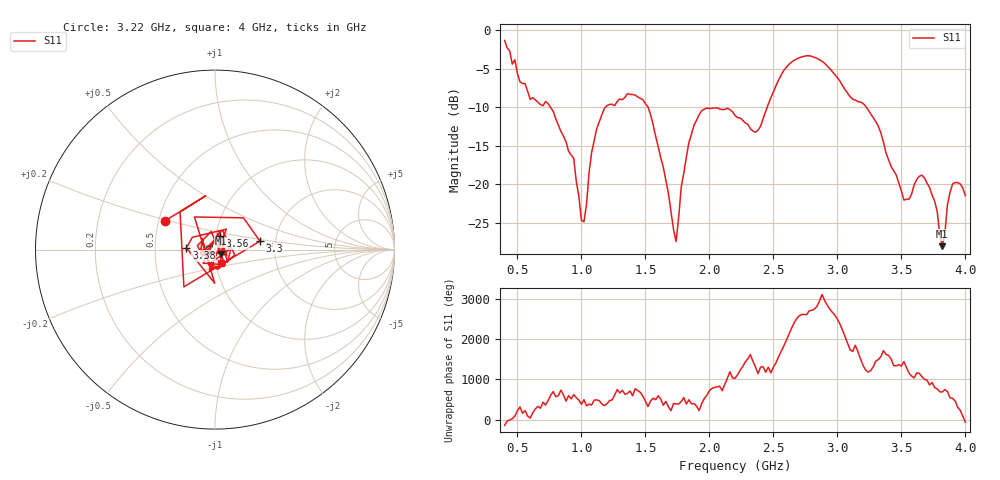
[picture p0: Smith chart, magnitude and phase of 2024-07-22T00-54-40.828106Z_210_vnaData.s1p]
!Created with skrf (http://scikit-rf.org).
# Hz S RI R 50.0
!freq ReS11 ImS11
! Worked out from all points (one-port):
!   181 points, 400 MHz to 4 GHz, reference 50 ohm
!   lowest |S11| = -28.1 dB at 3.82 GHz (marker M1), VSWR 1.08, Z = 53.3 - j2.45 ohm
!   |S11| at or under -10 dB: 757.6 MHz to 1.189 GHz (430.9 MHz wide, 44.3 % of centre); 1.521 GHz to 2.451 GHz (930.7 MHz wide, 46.9 % of centre); 3.226 GHz to end of sweep
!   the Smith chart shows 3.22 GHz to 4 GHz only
!   S11 on the Smith chart (normalised r, x): 3.22 GHz: 0.54, +0.19; 3.3 GHz: 1.66, +0.17; 3.38 GHz: 0.73, +0.01; 3.56 GHz: 1.04, +0.16; 4 GHz: 1.06, -0.16
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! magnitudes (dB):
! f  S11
! 400 MHz  -1.3
! 600 MHz  -9.0
! 740 MHz  -9.5
! 860 MHz  -13.8
! 940 MHz  -16.7
! 1 GHz  -24.7
! 1.02 GHz  -24.9
! 1.12 GHz  -12.8
! 1.3 GHz  -8.9
! 1.52 GHz  -10.0
! 1.74 GHz  -27.4
! 1.76 GHz  -24.3
! 1.84 GHz  -14.6
! 1.92 GHz  -11.0
! 2.2 GHz  -11.1
! 2.38 GHz  -13.0
! 2.66 GHz  -3.9
! 2.88 GHz  -4.0
! 3.1 GHz  -8.7
! 3.22 GHz  -9.9
! 3.3 GHz  -11.9
! 3.38 GHz  -16.0
! 3.56 GHz  -21.9
! 3.68 GHz  -19.2
! 3.76 GHz  -22.2
! 3.82 GHz  -28.1
! 3.9 GHz  -20.0
! 4 GHz  -21.5
